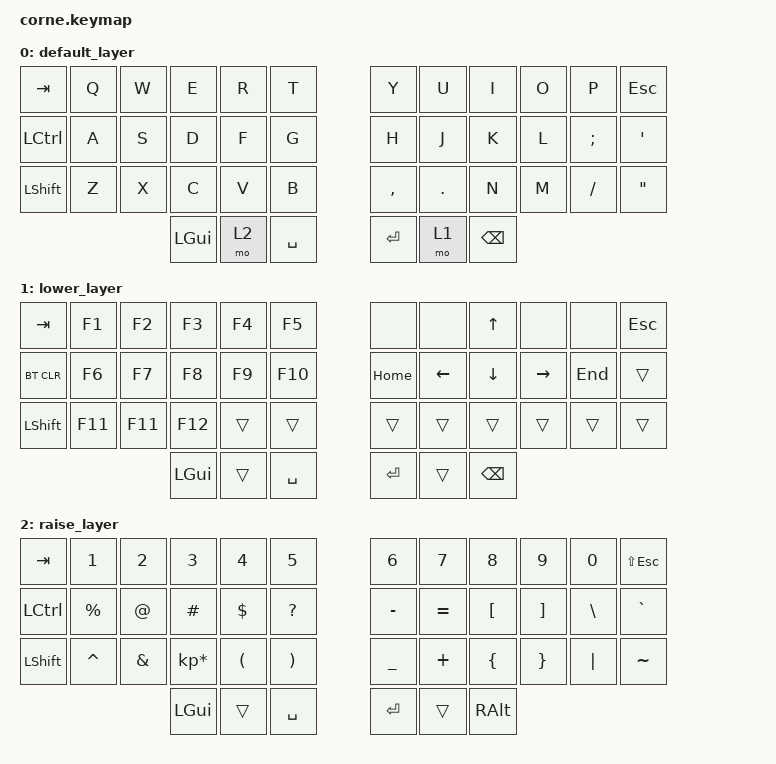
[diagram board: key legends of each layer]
/*
 * Copyright (c) 2020 The ZMK Contributors
 *
 * SPDX-License-Identifier: MIT
 */

#include <behaviors.dtsi>
#include <dt-bindings/zmk/bt.h>
#include <dt-bindings/zmk/keys.h>

/ {
    keymap {
        compatible = "zmk,keymap";

        default_layer {
            // -----------------------------------------------------------------------------------------
            // |  TAB |  Q  |  W  |  E  |  R  |  T  |   |  Y  |  U   |  I  |  O  |  P  | BKSP |
            // | CTRL |  A  |  S  |  D  |  F  |  G  |   |  H  |  J   |  K  |  L  |  ;  |  '   |
            // | SHFT |  Z  |  X  |  C  |  V  |  B  |   |  N  |  M   |  ,  |  .  |  /  | ESC  |
            //                    | GUI | LWR | SPC |   | ENT | RSE  | ALT |

            bindings = <
&kp TAB    &kp Q  &kp W  &kp E     &kp R  &kp T        &kp Y      &kp U    &kp I          &kp O  &kp P     &kp ESC
&kp LCTRL  &kp A  &kp S  &kp D     &kp F  &kp G        &kp H      &kp J    &kp K          &kp L  &kp SEMI  &kp SQT
&kp LSHFT  &kp Z  &kp X  &kp C     &kp V  &kp B        &kp COMMA  &kp DOT  &kp N          &kp M  &kp FSLH  &kp DOUBLE_QUOTES
                         &kp LGUI  &mo 2  &kp SPACE    &kp RET    &mo 1    &kp BACKSPACE
            >;
        };

        lower_layer {
            // -----------------------------------------------------------------------------------------
            // |  TAB |  1  |  2  |  3  |  4  |  5  |   |  6  |  7  |  8  |  9  |  0  | BKSP |
            // | BTCLR| BT1 | BT2 | BT3 | BT4 | BT5 |   | LFT | DWN |  UP | RGT |     |      |
            // | SHFT |     |     |     |     |     |   |     |     |     |     |     |      |
            //                    | GUI |     | SPC |   | ENT |     | ALT |

            bindings = <
&kp TAB     &kp F1   &kp F2   &kp F3    &kp F4  &kp F5       &none     &none     &kp UP_ARROW   &none      &none    &kp ESCAPE
&bt BT_CLR  &kp F6   &kp F7   &kp F8    &kp F9  &kp F10      &kp HOME  &kp LEFT  &kp DOWN       &kp RIGHT  &kp END  &trans
&kp LSHFT   &kp F11  &kp F11  &kp F12   &trans  &trans       &trans    &trans    &trans         &trans     &trans   &trans
                              &kp LGUI  &trans  &kp SPACE    &kp RET   &trans    &kp BACKSPACE
            >;
        };

        raise_layer {
            // -----------------------------------------------------------------------------------------
            // |  TAB |  !  |  @  |  #  |  $  |  %  |   |  ^  |  &  |  *  |  (  |  )  | BKSP |
            // | CTRL |     |     |     |     |     |   |  -  |  =  |  [  |  ]  |  \  |  `   |
            // | SHFT |     |     |     |     |     |   |  _  |  +  |  {  |  }  | "|" |  ~   |
            //                    | GUI |     | SPC |   | ENT |     | ALT |

            bindings = <
&kp TAB    &kp N1       &kp N2       &kp N3           &kp N4                &kp N5                   &kp N6     &kp N7     &kp N8    &kp N9    &kp N0    &kp LS(ESCAPE)
&kp LCTRL  &kp PERCENT  &kp AT_SIGN  &kp HASH         &kp DOLLAR            &kp QUESTION             &kp MINUS  &kp EQUAL  &kp LBKT  &kp RBKT  &kp BSLH  &kp GRAVE
&kp LSHFT  &kp CARET    &kp AMPS     &kp KP_MULTIPLY  &kp LEFT_PARENTHESIS  &kp RIGHT_PARENTHESIS    &kp UNDER  &kp PLUS   &kp LBRC  &kp RBRC  &kp PIPE  &kp TILDE
                                     &kp LGUI         &trans                &kp SPACE                &kp RET    &trans     &kp RALT
            >;
        };
    };
};
